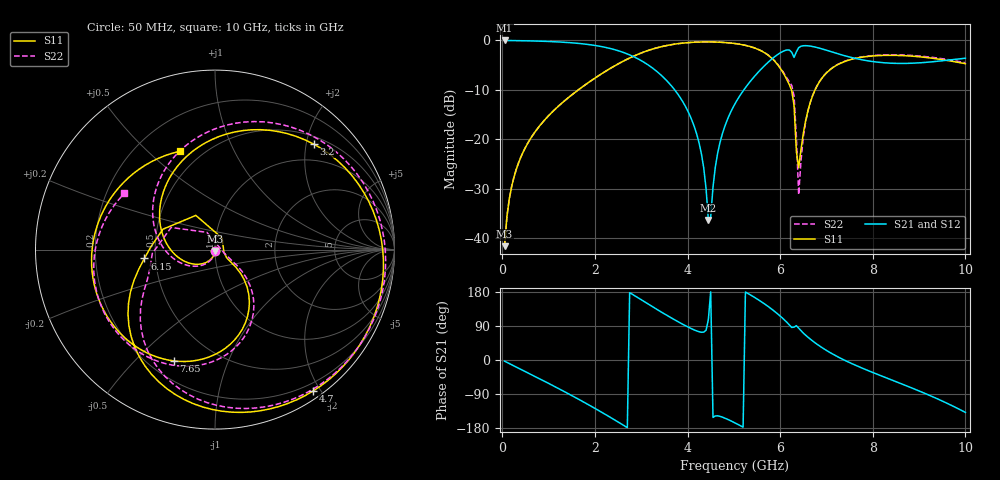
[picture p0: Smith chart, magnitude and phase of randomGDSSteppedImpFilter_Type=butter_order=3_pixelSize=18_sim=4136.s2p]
! freq	dB(S11)	phase(S11)	dB(S12)	phase(S12)
!  dB(S21)	phase(S21)	dB(S22)	phase(S22)
!S-par simulation data
#  GHz  S  DB  R 50
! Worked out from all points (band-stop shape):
!   200 points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, 50 MHz to 10 GHz, reference 50 ohm
!   highest |S21| = -0.01 dB at 50 MHz (marker M1); lowest = -36.4 dB at 4.45 GHz (marker M2)
!   |S21| within 3 dB of the highest: start of sweep to 2.769 GHz; 6.32 GHz to 7.358 GHz (1.038 GHz wide, 15.2 % of centre) (the widest 2 of 3)
!   lowest |S11| = -41.7 dB at 50 MHz (marker M3), VSWR 1.02, Z = 50 - j0.825 ohm
!   |S11| at or under -10 dB: start of sweep to 1.644 GHz; 6.244 GHz to 6.755 GHz (510.9 MHz wide, 7.86 % of centre)
!   |S22| runs from -41.7 to -0.3 dB; largest |S21 - S12| = 0
!   S11 on the Smith chart (normalised r, x): 50 MHz: 1.00, -0.02; 3.2 GHz: 0.64, +2.15; 4.7 GHz: 0.10, -1.91; 6.15 GHz: 0.43, -0.05; 7.65 GHz: 0.30, -0.65; 10 GHz: 0.38, +0.63
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0.05  -41.67 -90.8  -0.01 -3.1  -0.01 -3.1  -41.68 -90.4
0.2  -29.70 -102.6  -0.03 -12.3  -0.03 -12.3  -29.69 -101.1
0.45  -22.61 -119.8  -0.06 -27.6  -0.06 -27.6  -22.60 -116.3
1.15  -13.85 -166.0  -0.28 -71.2  -0.28 -71.2  -13.85 -158.1
1.75  -9.27 153.2  -0.70 -110.5  -0.70 -110.5  -9.27 163.7
2.45  -5.03 103.1  -1.93 -159.9  -1.93 -159.9  -5.03 114.7
3.2  -1.88 46.8  -5.29 143.8  -5.29 143.8  -1.89 57.8
3.4  -1.35 32.0  -6.78 129.0  -6.78 129.0  -1.35 42.7
4.15  -0.36 -20.1  -17.57 79.0  -17.57 79.0  -0.36 -10.7
4.45  -0.30 -39.4  -36.37 107.0  -36.37 107.0  -0.30 -30.4
4.7  -0.37 -55.2  -20.72 -148.7  -20.72 -148.7  -0.36 -46.4
5.05  -0.67 -77.6  -12.42 -167.5  -12.42 -167.5  -0.66 -68.9
5.75  -3.06 -129.6  -4.34 140.4  -4.34 140.4  -3.02 -119.7
6.15  -8.04 -172.9  -1.92 98.9  -1.92 98.9  -7.70 -156.1
6.3  -13.21 119.3  -3.45 86.7  -3.45 86.7  -11.25 153.2
6.4  -25.79 -15.4  -1.46 84.0  -1.46 84.0  -31.25 41.2
6.5  -18.85 -38.2  -1.08 71.0  -1.08 71.0  -19.58 -32.3
6.7  -11.22 -49.4  -1.23 50.3  -1.23 50.3  -11.20 -45.3
7.65  -3.59 -110.3  -3.70 -15.1  -3.70 -15.1  -3.53 -102.6
8.35  -3.02 -146.3  -4.59 -49.9  -4.59 -49.9  -2.92 -134.9
9.2  -3.51 167.0  -4.40 -91.9  -4.40 -91.9  -3.34 -172.7
10  -4.70 109.8  -3.61 -138.2  -3.61 -138.2  -4.53 148.1
